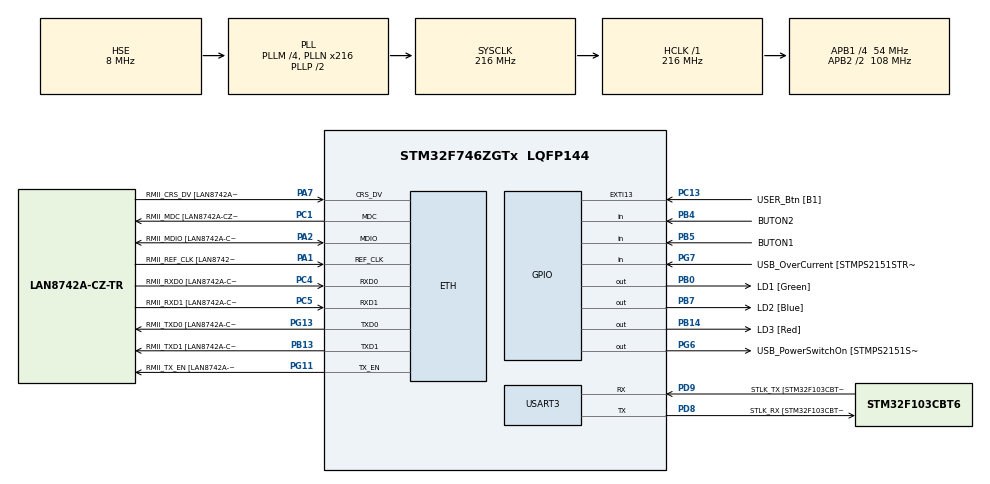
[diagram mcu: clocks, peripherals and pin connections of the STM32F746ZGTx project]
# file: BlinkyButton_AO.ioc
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ETH.MediaInterface=HAL_ETH_RMII_MODE
ETH.PHY_Name=LAN8742A_PHY_ADDRESS
ETH.PHY_Value=0
ETH.PhyAddress=0
FREERTOS.Tasks01=defaultTask,0,128,StartDefaultTask,Default,NULL,Dynamic,NULL,NULL
FREERTOS.configCHECK_FOR_STACK_OVERFLOW=2
FREERTOS.configGENERATE_RUN_TIME_STATS=1
FREERTOS.configUSE_IDLE_HOOK=1
FREERTOS.configUSE_MALLOC_FAILED_HOOK=1
FREERTOS.configUSE_NEWLIB_REENTRANT=1
FREERTOS.configUSE_STATS_FORMATTING_FUNCTIONS=1
FREERTOS.configUSE_TICK_HOOK=1
FREERTOS.configUSE_TRACE_FACILITY=1
Mcu.Family=STM32F7
Mcu.Name=STM32F746ZGTx
Mcu.Package=LQFP144
NVIC.EXTI15_10_IRQn=true\:5\:0\:false\:false\:true\:true\:true\:true\:true
NVIC.PriorityGroup=NVIC_PRIORITYGROUP_4
NVIC.TIM1_UP_TIM10_IRQn=true\:15\:0\:false\:false\:true\:false\:false\:true\:true
NVIC.TimeBase=TIM1_UP_TIM10_IRQn
NVIC.TimeBaseIP=TIM1
PA1.GPIO_Label=RMII_REF_CLK [LAN8742A-CZ-TR_REFCLK0]
PA1.Mode=RMII
PA1.Signal=ETH_REF_CLK
PA13.GPIO_Label=TMS
PA13.Mode=Trace_Asynchronous_SW
PA13.Signal=SYS_JTMS-SWDIO
PA14.GPIO_Label=TCK
PA14.Mode=Trace_Asynchronous_SW
PA14.Signal=SYS_JTCK-SWCLK
PA2.GPIO_Label=RMII_MDIO [LAN8742A-CZ-TR_MDIO]
PA2.Mode=RMII
PA2.Signal=ETH_MDIO
PA7.GPIO_Label=RMII_CRS_DV [LAN8742A-CZ-TR_CRS_DV]
PA7.Mode=RMII
PA7.Signal=ETH_CRS_DV
PB0.GPIO_Label=LD1 [Green]
PB0.Signal=GPIO_Output
PB13.GPIO_Label=RMII_TXD1 [LAN8742A-CZ-TR_TXD1]
PB13.Mode=RMII
PB13.Signal=ETH_TXD1
PB14.GPIO_Label=LD3 [Red]
PB14.Signal=GPIO_Output
PB3.GPIO_Label=SW0
PB3.Mode=Trace_Asynchronous_SW
PB3.Signal=SYS_JTDO-SWO
PB4.GPIO_Label=BUTON2
PB4.GPIO_PuPd=GPIO_PULLDOWN
PB4.Signal=GPIO_Input
PB5.GPIO_Label=BUTON1
PB5.GPIO_PuPd=GPIO_PULLDOWN
PB5.Signal=GPIO_Input
PB7.GPIO_Label=LD2 [Blue]
PB7.Signal=GPIO_Output
PC1.GPIO_Label=RMII_MDC [LAN8742A-CZ-TR_MDC]
PC1.Mode=RMII
PC1.Signal=ETH_MDC
PC13.GPIO_Label=USER_Btn [B1]
PC13.GPIO_ModeDefaultEXTI=GPIO_MODE_IT_RISING_FALLING
PC13.GPIO_PuPd=GPIO_PULLDOWN
PC13.Signal=GPXTI13
PC14/OSC32_IN.Mode=LSE-External-Oscillator
PC14/OSC32_IN.Signal=RCC_OSC32_IN
PC15/OSC32_OUT.Mode=LSE-External-Oscillator
PC15/OSC32_OUT.Signal=RCC_OSC32_OUT
PC4.GPIO_Label=RMII_RXD0 [LAN8742A-CZ-TR_RXD0]
PC4.Mode=RMII
PC4.Signal=ETH_RXD0
PC5.GPIO_Label=RMII_RXD1 [LAN8742A-CZ-TR_RXD1]
PC5.Mode=RMII
PC5.Signal=ETH_RXD1
PD8.GPIO_Label=STLK_RX [STM32F103CBT6_PA3]
PD8.Mode=Asynchronous
PD8.Signal=USART3_TX
PD9.GPIO_Label=STLK_TX [STM32F103CBT6_PA2]
PD9.Mode=Asynchronous
PD9.Signal=USART3_RX
PG11.GPIO_Label=RMII_TX_EN [LAN8742A-CZ-TR_TXEN]
PG11.Mode=RMII
PG11.Signal=ETH_TX_EN
PG13.GPIO_Label=RMII_TXD0 [LAN8742A-CZ-TR_TXD0]
PG13.Mode=RMII
PG13.Signal=ETH_TXD0
PG6.GPIO_Label=USB_PowerSwitchOn [STMPS2151STR_EN]
PG6.Signal=GPIO_Output
PG7.GPIO_Label=USB_OverCurrent [STMPS2151STR_FAULT]
PG7.Signal=GPIO_Input
PH0/OSC_IN.GPIO_Label=MCO [STM32F103CBT6_PA8]
PH0/OSC_IN.Mode=HSE-External-Clock-Source
PH0/OSC_IN.Signal=RCC_OSC_IN
PH1/OSC_OUT.Mode=HSE-External-Clock-Source
PH1/OSC_OUT.Signal=RCC_OSC_OUT
ProjectManager.HeapSize=0x200
ProjectManager.StackSize=0x400
ProjectManager.TargetToolchain=STM32CubeIDE
RCC.48MHZClocksFreq_Value=24000000
RCC.AHBFreq_Value=216000000
RCC.APB1CLKDivider=RCC_HCLK_DIV4
RCC.APB1Freq_Value=54000000
RCC.APB1TimFreq_Value=108000000
RCC.APB2CLKDivider=RCC_HCLK_DIV2
RCC.APB2Freq_Value=108000000
RCC.APB2TimCLKDivider=1
RCC.APB2TimFreq_Value=108000000
RCC.CortexFreq_Value=216000000
RCC.HCLKFreq_Value=216000000
RCC.HSE_VALUE=8000000
RCC.HSI_VALUE=16000000
RCC.PLLM=4
RCC.PLLMUL=RCC_PLL_MUL9
RCC.PLLN=216
RCC.PLLQ=9
RCC.PLLSourceVirtual=RCC_PLLSOURCE_HSE
RCC.PRESCALERUSB=RCC_USBCLKSOURCE_PLL_DIV1_5
RCC.SYSCLKFreq_VALUE=216000000
RCC.SYSCLKSource=RCC_SYSCLKSOURCE_PLLCLK
RCC.SYSCLKSourceVirtual=RCC_SYSCLKSOURCE_PLLCLK
RCC.USBFreq_Value=48000000
RCC.VCOOutputFreq_Value=432000000
USART3.VirtualMode-Asynchronous=VM_ASYNC
VP_FREERTOS_VS_CMSIS_V1.Mode=CMSIS_V1
VP_SYS_VS_tim1.Mode=TIM1
board=NUCLEO-F746ZG

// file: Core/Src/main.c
/* USER CODE BEGIN Header */
/**
  ******************************************************************************
  * @file           : main.c
  * @brief          : Main program body
  ******************************************************************************
  * @attention
  *
  * Copyright (c) 2022 STMicroelectronics.
  * All rights reserved.
  *
  * This software is licensed under terms that can be found in the LICENSE file
  * in the root directory of this software component.
  * If no LICENSE file comes with this software, it is provided AS-IS.
  *
  ******************************************************************************
  */
/* USER CODE END Header */
#include "main.h"
#include "string.h"
#include "cmsis_os.h"

/* USER CODE BEGIN Includes */
#include "stdio.h"
#include "stdlib.h"  /*For malloc function*/
#include "stdbool.h"
#include "retarget.h"
#include "qpc.h"
#include "BlinkyButton.h"

Q_DEFINE_THIS_FILE

/* USER CODE END Includes */

/* USER CODE BEGIN PD */

#define STACK_SIZE 260

/* The BlinkyButton AO ============================================================*/

StackType_t Stack_BlinkyButton[STACK_SIZE]; /*task stack*/
StaticTask_t BlinkyButtonTaskBuffer;
static Event *BlinkyButton_queue[10];
static BlinkyButton blinkybutton;
Active *AO_BlinkyButton = &blinkybutton.super;
/* USER CODE END PD */

#if defined ( __ICCARM__ ) /*!< IAR Compiler */
#pragma location=0x2004c000
ETH_DMADescTypeDef  DMARxDscrTab[ETH_RX_DESC_CNT]; /* Ethernet Rx DMA Descriptors */
#pragma location=0x2004c0a0
ETH_DMADescTypeDef  DMATxDscrTab[ETH_TX_DESC_CNT]; /* Ethernet Tx DMA Descriptors */

#elif defined ( __CC_ARM )  /* MDK ARM Compiler */

__attribute__((at(0x2004c000))) ETH_DMADescTypeDef  DMARxDscrTab[ETH_RX_DESC_CNT]; /* Ethernet Rx DMA Descriptors */
__attribute__((at(0x2004c0a0))) ETH_DMADescTypeDef  DMATxDscrTab[ETH_TX_DESC_CNT]; /* Ethernet Tx DMA Descriptors */

#elif defined ( __GNUC__ ) /* GNU Compiler */
ETH_DMADescTypeDef DMARxDscrTab[ETH_RX_DESC_CNT] __attribute__((section(".RxDecripSection"))); /* Ethernet Rx DMA Descriptors */
ETH_DMADescTypeDef DMATxDscrTab[ETH_TX_DESC_CNT] __attribute__((section(".TxDecripSection")));   /* Ethernet Tx DMA Descriptors */

#endif

ETH_TxPacketConfig TxConfig;

ETH_HandleTypeDef heth;

UART_HandleTypeDef huart3;

osThreadId defaultTaskHandle;

void SystemClock_Config(void);
static void MX_GPIO_Init(void);
static void MX_ETH_Init(void);
static void MX_USART3_UART_Init(void);
void StartDefaultTask(void const * argument);

/* USER CODE BEGIN PFP */

void Q_onAssert(char const *module, int loc);

/* USER CODE END PFP */

/* USER CODE BEGIN 0 */
sdasdassdasds
/* USER CODE END 0 */

int main(void)
{

  /* MCU Configuration--------------------------------------------------------*/

  /* Reset of all peripherals, Initializes the Flash interface and the Systick. */
  HAL_Init();

  /* Configure the system clock */
  SystemClock_Config();

  /* Initialize all configured peripherals */
  MX_GPIO_Init();
  MX_ETH_Init();
  MX_USART3_UART_Init();
  /* USER CODE BEGIN 2 */
  RetargetInit(&huart3);

  /* USER CODE END 2 */

  /* Create the thread(s) */
  /* definition and creation of defaultTask */
  osThreadDef(defaultTask, StartDefaultTask, osPriorityNormal, 0, 128);
  defaultTaskHandle = osThreadCreate(osThread(defaultTask), NULL);

  /* USER CODE BEGIN RTOS_THREADS */
  /* add threads, ... */

  BlinkyButton_ctor(&blinkybutton);
  Active_start(AO_BlinkyButton,
		  	  configMINIMAL_STACK_SIZE,
			  1,
			  Stack_BlinkyButton,
			  &BlinkyButtonTaskBuffer,
			  BlinkyButton_queue,
			  sizeof(BlinkyButton_queue)/sizeof(BlinkyButton_queue[0]));
  /* USER CODE END RTOS_THREADS */

  /* Start scheduler */
  osKernelStart();
  /* We should never get here as control is now taken by the scheduler */
  /* Infinite loop */
  while (1)
  {

  }
}

void SystemClock_Config(void)
{
  RCC_OscInitTypeDef RCC_OscInitStruct = {0};
  RCC_ClkInitTypeDef RCC_ClkInitStruct = {0};

  /** Configure LSE Drive Capability
  */
  HAL_PWR_EnableBkUpAccess();

  /** Configure the main internal regulator output voltage
  */
  __HAL_RCC_PWR_CLK_ENABLE();
  __HAL_PWR_VOLTAGESCALING_CONFIG(PWR_REGULATOR_VOLTAGE_SCALE1);

  /** Initializes the RCC Oscillators according to the specified parameters
  * in the RCC_OscInitTypeDef structure.
  */
  RCC_OscInitStruct.OscillatorType = RCC_OSCILLATORTYPE_HSE;
  RCC_OscInitStruct.HSEState = RCC_HSE_BYPASS;
  RCC_OscInitStruct.PLL.PLLState = RCC_PLL_ON;
  RCC_OscInitStruct.PLL.PLLSource = RCC_PLLSOURCE_HSE;
  RCC_OscInitStruct.PLL.PLLM = 4;
  RCC_OscInitStruct.PLL.PLLN = 216;
  RCC_OscInitStruct.PLL.PLLP = RCC_PLLP_DIV2;
  RCC_OscInitStruct.PLL.PLLQ = 9;
  if (HAL_RCC_OscConfig(&RCC_OscInitStruct) != HAL_OK)
  {
    Error_Handler();
  }

  /** Activate the Over-Drive mode
  */
  if (HAL_PWREx_EnableOverDrive() != HAL_OK)
  {
    Error_Handler();
  }

  /** Initializes the CPU, AHB and APB buses clocks
  */
  RCC_ClkInitStruct.ClockType = RCC_CLOCKTYPE_HCLK|RCC_CLOCKTYPE_SYSCLK
                              |RCC_CLOCKTYPE_PCLK1|RCC_CLOCKTYPE_PCLK2;
  RCC_ClkInitStruct.SYSCLKSource = RCC_SYSCLKSOURCE_PLLCLK;
  RCC_ClkInitStruct.AHBCLKDivider = RCC_SYSCLK_DIV1;
  RCC_ClkInitStruct.APB1CLKDivider = RCC_HCLK_DIV4;
  RCC_ClkInitStruct.APB2CLKDivider = RCC_HCLK_DIV2;

  if (HAL_RCC_ClockConfig(&RCC_ClkInitStruct, FLASH_LATENCY_7) != HAL_OK)
  {
    Error_Handler();
  }
}

static void MX_ETH_Init(void)
{

   static uint8_t MACAddr[6];

  heth.Instance = ETH;
  MACAddr[0] = 0x00;
  MACAddr[1] = 0x80;
  MACAddr[2] = 0xE1;
  MACAddr[3] = 0x00;
  MACAddr[4] = 0x00;
  MACAddr[5] = 0x00;
  heth.Init.MACAddr = &MACAddr[0];
  heth.Init.MediaInterface = HAL_ETH_RMII_MODE;
  heth.Init.TxDesc = DMATxDscrTab;
  heth.Init.RxDesc = DMARxDscrTab;
  heth.Init.RxBuffLen = 1524;

  if (HAL_ETH_Init(&heth) != HAL_OK)
  {
    Error_Handler();
  }

  memset(&TxConfig, 0 , sizeof(ETH_TxPacketConfig));
  TxConfig.Attributes = ETH_TX_PACKETS_FEATURES_CSUM | ETH_TX_PACKETS_FEATURES_CRCPAD;
  TxConfig.ChecksumCtrl = ETH_CHECKSUM_IPHDR_PAYLOAD_INSERT_PHDR_CALC;
  TxConfig.CRCPadCtrl = ETH_CRC_PAD_INSERT;

}

static void MX_USART3_UART_Init(void)
{

  huart3.Instance = USART3;
  huart3.Init.BaudRate = 115200;
  huart3.Init.WordLength = UART_WORDLENGTH_8B;
  huart3.Init.StopBits = UART_STOPBITS_1;
  huart3.Init.Parity = UART_PARITY_NONE;
  huart3.Init.Mode = UART_MODE_TX_RX;
  huart3.Init.HwFlowCtl = UART_HWCONTROL_NONE;
  huart3.Init.OverSampling = UART_OVERSAMPLING_16;
  huart3.Init.OneBitSampling = UART_ONE_BIT_SAMPLE_DISABLE;
  huart3.AdvancedInit.AdvFeatureInit = UART_ADVFEATURE_NO_INIT;
  if (HAL_UART_Init(&huart3) != HAL_OK)
  {
    Error_Handler();
  }

}

static void MX_GPIO_Init(void)
{
  GPIO_InitTypeDef GPIO_InitStruct = {0};

  /* GPIO Ports Clock Enable */
  __HAL_RCC_GPIOC_CLK_ENABLE();
  __HAL_RCC_GPIOH_CLK_ENABLE();
  __HAL_RCC_GPIOA_CLK_ENABLE();
  __HAL_RCC_GPIOB_CLK_ENABLE();
  __HAL_RCC_GPIOD_CLK_ENABLE();
  __HAL_RCC_GPIOG_CLK_ENABLE();

  /*Configure GPIO pin Output Level */
  HAL_GPIO_WritePin(GPIOB, LD1_Pin|LD3_Pin|LD2_Pin, GPIO_PIN_RESET);

  /*Configure GPIO pin Output Level */
  HAL_GPIO_WritePin(USB_PowerSwitchOn_GPIO_Port, USB_PowerSwitchOn_Pin, GPIO_PIN_RESET);

  /*Configure GPIO pin : USER_Btn_Pin */
  GPIO_InitStruct.Pin = USER_Btn_Pin;
  GPIO_InitStruct.Mode = GPIO_MODE_IT_RISING_FALLING;
  GPIO_InitStruct.Pull = GPIO_PULLDOWN;
  HAL_GPIO_Init(USER_Btn_GPIO_Port, &GPIO_InitStruct);

  /*Configure GPIO pins : LD1_Pin LD3_Pin LD2_Pin */
  GPIO_InitStruct.Pin = LD1_Pin|LD3_Pin|LD2_Pin;
  GPIO_InitStruct.Mode = GPIO_MODE_OUTPUT_PP;
  GPIO_InitStruct.Pull = GPIO_NOPULL;
  GPIO_InitStruct.Speed = GPIO_SPEED_FREQ_LOW;
  HAL_GPIO_Init(GPIOB, &GPIO_InitStruct);

  /*Configure GPIO pin : USB_PowerSwitchOn_Pin */
  GPIO_InitStruct.Pin = USB_PowerSwitchOn_Pin;
  GPIO_InitStruct.Mode = GPIO_MODE_OUTPUT_PP;
  GPIO_InitStruct.Pull = GPIO_NOPULL;
  GPIO_InitStruct.Speed = GPIO_SPEED_FREQ_LOW;
  HAL_GPIO_Init(USB_PowerSwitchOn_GPIO_Port, &GPIO_InitStruct);

  /*Configure GPIO pin : USB_OverCurrent_Pin */
  GPIO_InitStruct.Pin = USB_OverCurrent_Pin;
  GPIO_InitStruct.Mode = GPIO_MODE_INPUT;
  GPIO_InitStruct.Pull = GPIO_NOPULL;
  HAL_GPIO_Init(USB_OverCurrent_GPIO_Port, &GPIO_InitStruct);

  /*Configure GPIO pins : BUTON2_Pin BUTON1_Pin */
  GPIO_InitStruct.Pin = BUTON2_Pin|BUTON1_Pin;
  GPIO_InitStruct.Mode = GPIO_MODE_INPUT;
  GPIO_InitStruct.Pull = GPIO_PULLDOWN;
  HAL_GPIO_Init(GPIOB, &GPIO_InitStruct);

  /* EXTI interrupt init*/
  HAL_NVIC_SetPriority(EXTI15_10_IRQn, 5, 0);
  HAL_NVIC_EnableIRQ(EXTI15_10_IRQn);

}

/* USER CODE BEGIN 4 */

void Q_onAssert(char const *module, int loc) {
    /* TBD: damage control */
    (void)module; /* avoid the "unused parameter" compiler warning */
    (void)loc;    /* avoid the "unused parameter" compiler warning */
    NVIC_SystemReset();
}

void vApplicationStackOverflowHook( TaskHandle_t xTask,
                                    signed char *pcTaskName ){
	__NOP();
	Error_Handler();
}

void vApplicationTickHook( void ){
	App_TimeTickHook();
	__NOP();
}

void vApplicationMallocFailedHook( void ){
	__NOP();
	Error_Handler();
}

/* USER CODE END 4 */

void StartDefaultTask(void const * argument)
{
  for(;;)
  {
    osDelay(1);
  }
}

void HAL_TIM_PeriodElapsedCallback(TIM_HandleTypeDef *htim)
{
  if (htim->Instance == TIM1) {
    HAL_IncTick();
  }
}

void Error_Handler(void)
{
  __disable_irq();
  while (1)
  {
  }
}

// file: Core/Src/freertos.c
/* USER CODE BEGIN Header */
/**
  ******************************************************************************
  * File Name          : freertos.c
  * Description        : Code for freertos applications
  ******************************************************************************
  * @attention
  *
  * Copyright (c) 2022 STMicroelectronics.
  * All rights reserved.
  *
  * This software is licensed under terms that can be found in the LICENSE file
  * in the root directory of this software component.
  * If no LICENSE file comes with this software, it is provided AS-IS.
  *
  ******************************************************************************
  */
/* USER CODE END Header */

#include "FreeRTOS.h"
#include "task.h"
#include "main.h"

/* GetIdleTaskMemory prototype (linked to static allocation support) */
void vApplicationGetIdleTaskMemory( StaticTask_t **ppxIdleTaskTCBBuffer, StackType_t **ppxIdleTaskStackBuffer, uint32_t *pulIdleTaskStackSize );

/* Hook prototypes */
void configureTimerForRunTimeStats(void);
unsigned long getRunTimeCounterValue(void);
void vApplicationIdleHook(void);
void vApplicationTickHook(void);
void vApplicationStackOverflowHook(xTaskHandle xTask, signed char *pcTaskName);
void vApplicationMallocFailedHook(void);

/* USER CODE BEGIN 1 */
/* Functions needed when configGENERATE_RUN_TIME_STATS is on */
__weak void configureTimerForRunTimeStats(void)
{

}

__weak unsigned long getRunTimeCounterValue(void)
{
return 0;
}
/* USER CODE END 1 */

/* USER CODE BEGIN 2 */
__weak void vApplicationIdleHook( void )
{
   /* vApplicationIdleHook() will only be called if configUSE_IDLE_HOOK is set
   to 1 in FreeRTOSConfig.h. It will be called on each iteration of the idle
   task. It is essential that code added to this hook function never attempts
   to block in any way (for example, call xQueueReceive() with a block time
   specified, or call vTaskDelay()). If the application makes use of the
   vTaskDelete() API function (as this demo application does) then it is also
   important that vApplicationIdleHook() is permitted to return to its calling
   function, because it is the responsibility of the idle task to clean up
   memory allocated by the kernel to any task that has since been deleted. */
}
/* USER CODE END 2 */

/* USER CODE BEGIN 3 */
__weak void vApplicationTickHook( void )
{
   /* This function will be called by each tick interrupt if
   configUSE_TICK_HOOK is set to 1 in FreeRTOSConfig.h. User code can be
   added here, but the tick hook is called from an interrupt context, so
   code must not attempt to block, and only the interrupt safe FreeRTOS API
   functions can be used (those that end in FromISR()). */
}
/* USER CODE END 3 */

/* USER CODE BEGIN 4 */
__weak void vApplicationStackOverflowHook(xTaskHandle xTask, signed char *pcTaskName)
{
   /* Run time stack overflow checking is performed if
   configCHECK_FOR_STACK_OVERFLOW is defined to 1 or 2. This hook function is
   called if a stack overflow is detected. */
}
/* USER CODE END 4 */

/* USER CODE BEGIN 5 */
__weak void vApplicationMallocFailedHook(void)
{
   /* vApplicationMallocFailedHook() will only be called if
   configUSE_MALLOC_FAILED_HOOK is set to 1 in FreeRTOSConfig.h. It is a hook
   function that will get called if a call to pvPortMalloc() fails.
   pvPortMalloc() is called internally by the kernel whenever a task, queue,
   timer or semaphore is created. It is also called by various parts of the
   demo application. If heap_1.c or heap_2.c are used, then the size of the
   heap available to pvPortMalloc() is defined by configTOTAL_HEAP_SIZE in
   FreeRTOSConfig.h, and the xPortGetFreeHeapSize() API function can be used
   to query the size of free heap space that remains (although it does not
   provide information on how the remaining heap might be fragmented). */
}
/* USER CODE END 5 */

/* USER CODE BEGIN GET_IDLE_TASK_MEMORY */
static StaticTask_t xIdleTaskTCBBuffer;
static StackType_t xIdleStack[configMINIMAL_STACK_SIZE];

void vApplicationGetIdleTaskMemory( StaticTask_t **ppxIdleTaskTCBBuffer, StackType_t **ppxIdleTaskStackBuffer, uint32_t *pulIdleTaskStackSize )
{
  *ppxIdleTaskTCBBuffer = &xIdleTaskTCBBuffer;
  *ppxIdleTaskStackBuffer = &xIdleStack[0];
  *pulIdleTaskStackSize = configMINIMAL_STACK_SIZE;
  /* place for user code */
}
/* USER CODE END GET_IDLE_TASK_MEMORY */
